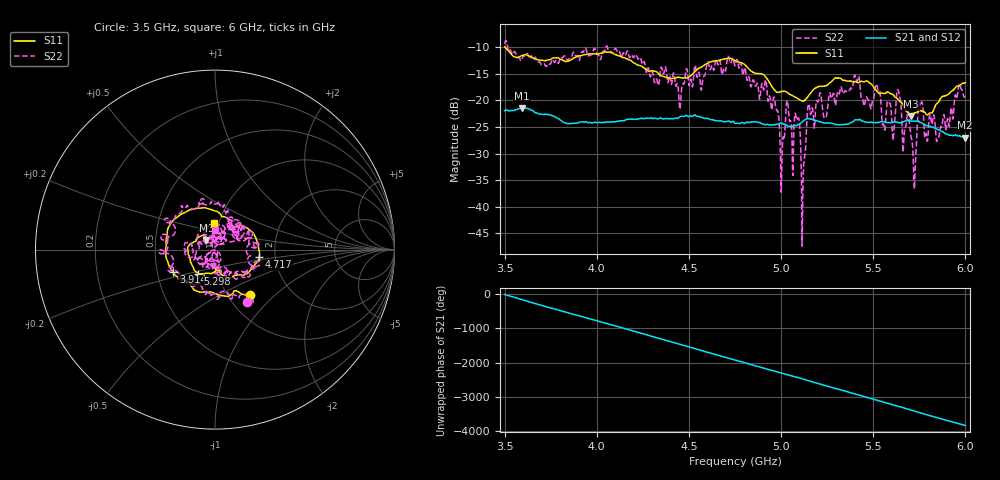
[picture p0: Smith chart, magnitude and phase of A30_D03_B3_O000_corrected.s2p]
! Created with skrf 1.9.0 (http://scikit-rf.org).
# Hz S RI R 50.0
!freq ReS11 ImS11 ReS21 ImS21 ReS12 ImS12 ReS22 ImS22
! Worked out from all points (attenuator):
!   1601 points, 3.5 GHz to 6 GHz, reference 50 ohm
!   highest |S21| = -21.44 dB at 3.592 GHz (marker M1); lowest = -27.0 dB at 5.998 GHz (marker M2)
!   lowest |S11| = -22.9 dB at 5.706 GHz (marker M3), VSWR 1.15, Z = 45.2 + j4.83 ohm
!   |S11| at or under -10 dB: 3.504 GHz to end of sweep
!   |S22| runs from -47.5 to -8.7 dB; largest |S21 - S12| = 0.001
!   S11 on the Smith chart (normalised r, x): 3.5 GHz: 1.25, -0.71; 3.914 GHz: 0.61, -0.17; 4.717 GHz: 1.65, -0.15; 5.298 GHz: 0.80, -0.22; 6 GHz: 0.94, +0.28
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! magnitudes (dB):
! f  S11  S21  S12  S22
! 3.5 GHz  -9.9  -21.9  -21.9  -9.3
! 3.592 GHz  -11.5  -21.4  -21.4  -12.4
! 3.914 GHz  -11.5  -24.1  -24.0  -11.2
! 3.917 GHz  -11.5  -24.1  -24.1  -10.9
! 4.334 GHz  -14.9  -23.5  -23.4  -17.1
! 4.717 GHz  -12.0  -23.9  -23.9  -12.0
! 4.75 GHz  -12.5  -24.3  -24.2  -13.5
! 4.969 GHz  -18.2  -24.6  -24.5  -20.8
! 5.005 GHz  -18.2  -24.3  -24.3  -31.0
! 5.033 GHz  -18.5  -24.8  -24.7  -20.0
! 5.088 GHz  -19.6  -24.7  -24.7  -23.6
! 5.119 GHz  -20.1  -23.9  -23.8  -35.8
! 5.145 GHz  -19.3  -23.4  -23.3  -21.2
! 5.167 GHz  -18.3  -23.5  -23.5  -21.5
! 5.298 GHz  -15.7  -24.5  -24.5  -20.3
! 5.584 GHz  -18.5  -24.2  -24.1  -20.3
! 5.706 GHz  -22.9  -23.9  -23.8  -27.1
! 5.725 GHz  -22.3  -23.9  -23.8  -35.5
! 5.756 GHz  -21.9  -24.1  -24.1  -21.0
! 5.85 GHz  -20.4  -25.5  -25.4  -27.2
! 5.998 GHz  -16.7  -27.0  -27.0  -19.3
! 6 GHz  -16.7  -27.0  -27.0  -19.3
